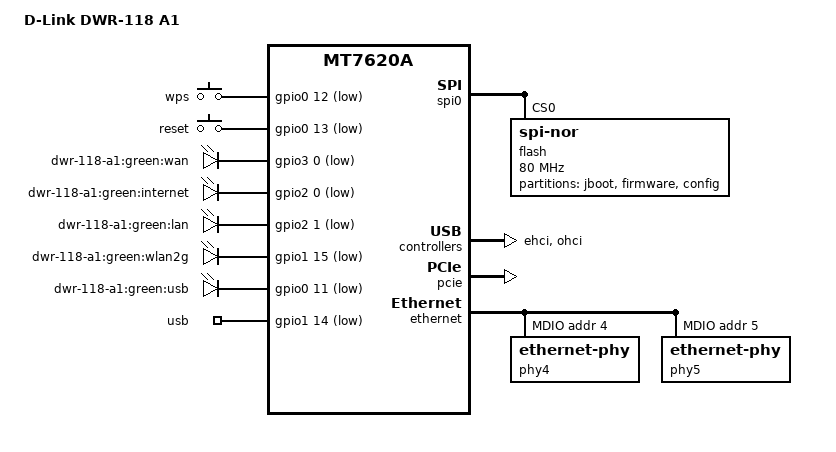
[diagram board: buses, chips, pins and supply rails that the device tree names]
// SPDX-License-Identifier: GPL-2.0-or-later OR MIT
/dts-v1/;

#include "mt7620a.dtsi"

#include <dt-bindings/gpio/gpio.h>
#include <dt-bindings/input/input.h>

/ {
	compatible = "dlink,dwr-118-a1", "ralink,mt7620a-soc";
	model = "D-Link DWR-118 A1";

	aliases {
		led-boot = &led_internet;
		led-failsafe = &led_internet;
		led-upgrade = &led_internet;
	};

	keys {
		compatible = "gpio-keys-polled";
		poll-interval = <20>;

		wps {
			label = "wps";
			gpios = <&gpio0 12 GPIO_ACTIVE_LOW>;
			linux,code = <KEY_WPS_BUTTON>;
		};

		reset {
			label = "reset";
			gpios = <&gpio0 13 GPIO_ACTIVE_LOW>;
			linux,code = <KEY_RESTART>;
		};
	};

	leds {
		compatible = "gpio-leds";

		wan {
			label = "dwr-118-a1:green:wan";
			gpios = <&gpio3 0 GPIO_ACTIVE_LOW>;
		};

		led_internet: internet {
			label = "dwr-118-a1:green:internet";
			gpios = <&gpio2 0 GPIO_ACTIVE_LOW>;
		};

		lan {
			label = "dwr-118-a1:green:lan";
			gpios = <&gpio2 1 GPIO_ACTIVE_LOW>;
		};

		wlan2g {
			label = "dwr-118-a1:green:wlan2g";
			gpios = <&gpio1 15 GPIO_ACTIVE_LOW>;
		};

		usb {
			label = "dwr-118-a1:green:usb";
			gpios = <&gpio0 11 GPIO_ACTIVE_LOW>;
			trigger-sources = <&ohci_port1>, <&ehci_port1>;
			linux,default-trigger = "usbport";
		};
	};

	gpio_export {
		compatible = "gpio-export";
		#size-cells = <0>;

		usb {
			gpio-export,name = "usb";
			gpio-export,output = <0>;
			gpios = <&gpio1 14 GPIO_ACTIVE_LOW>;
		};
	};
};

&gpio1 {
	status = "okay";
};

&gpio2 {
	status = "okay";
};

&gpio3 {
	status = "okay";
};

&spi0 {
	status = "okay";

	flash@0 {
		compatible = "jedec,spi-nor";
		reg = <0>;
		spi-max-frequency = <80000000>;

		partitions {
			compatible = "fixed-partitions";
			#address-cells = <1>;
			#size-cells = <1>;

			partition@0 {
				label = "jboot";
				reg = <0x0 0x10000>;
				read-only;
			};

			partition@10000 {
				compatible = "amit,jimage";
				label = "firmware";
				reg = <0x10000 0xfe0000>;
			};

			config: partition@ff0000 {
				label = "config";
				reg = <0xff0000 0x10000>;
				read-only;
			};
		};
	};
};

&ehci {
	status = "okay";
};

&ohci {
	status = "okay";
};

&pinctrl {
	state_default: pinctrl0 {
		default {
			ralink,group = "ephy", "uartf", "spi refclk", "wled";
			ralink,function = "gpio";
		};
	};
};

&pcie {
	status = "okay";
};

&pcie0 {
	wifi@0,0 {
		reg = <0x0000 0 0 0 0>;
		mtd-mac-address = <&config 0xe496>;
		mtd-mac-address-increment = <(2)>;
		mediatek,mtd-eeprom = <&config 0xe083>;

		led {
			led-sources = <0>;
			led-active-low;
		};
	};
};

&ethernet {
	status = "okay";
	pinctrl-names = "default";
	pinctrl-0 = <&rgmii1_pins &rgmii2_pins &mdio_pins>;

	port@4 {
		status = "okay";
		phy-handle = <&phy4>;
		phy-mode = "rgmii";
	};

	port@5 {
		status = "okay";
		phy-handle = <&phy5>;
		phy-mode = "rgmii";
	};

	mdio-bus {
		status = "okay";

		phy4: ethernet-phy@4 {
			reg = <4>;
			phy-mode = "rgmii-rxid";
		};

		phy5: ethernet-phy@5 {
			reg = <5>;
			phy-mode = "rgmii-rxid";
		};
	};
};

&gsw {
	mediatek,port4 = "gmac";
};
